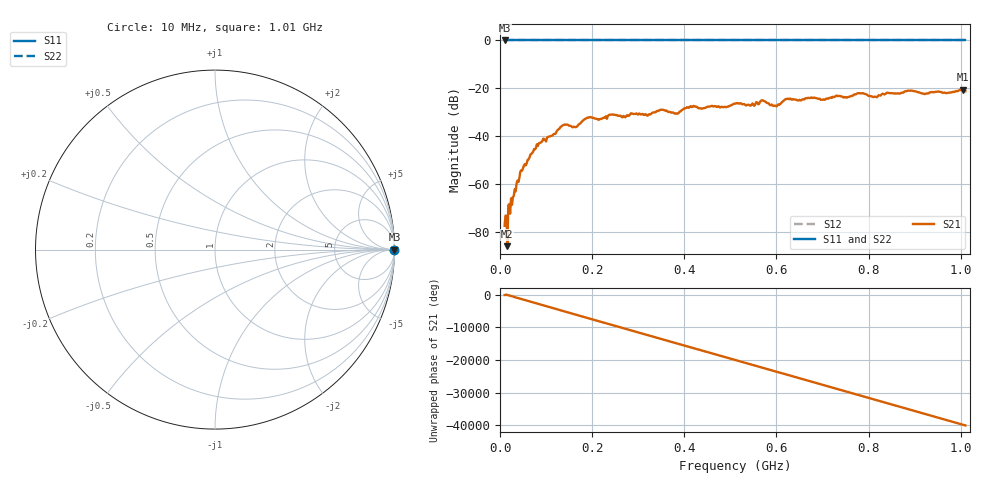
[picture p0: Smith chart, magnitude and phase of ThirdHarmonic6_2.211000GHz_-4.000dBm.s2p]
! 8/17/2025 2:20:23 AM
! C:\ANRITSUVNA\TEMP\TEMP.S2P
! CHANNEL.1
! TR.MEASUREMENT
! RAW.DATA
! RF.CORRECTION.OFF
! AVERAGING.OFF
! IF.BANDWIDTH: 5KHZ
! SWEEPTYPE:  FREQ.SWEEP(Linear)
! Reference Plane Port Info
! PORT:  PORT1  PORT2
! DISTANCE:  0  m  0  m
! TIME:  0  s  0  s
! PHASE.OFFSET:  0  deg.  0  deg.
! LOSS:  0  dB  0  dB
! REF.LOSS:  0  dB  0  dB
! REF.FREQ:  0  Hz  0  Hz
! Power Info
! POWER:  -20  dBm  -20  dBm
! EFF.POWER:  -20  dBm  -20  dBm
! SOURCE.ATTEN:  0  dB  0  dB
! TEST.ATTEN:  0  dB  0  dB
# GHZ S RI R 50.0
! FREQ.GHZ  S11RE  S11IM  S21RE  S21IM  S12RE  S12IM  S22RE  S22IM
!; PortSelection: Port_12
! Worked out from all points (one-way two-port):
!   501 points, 10 MHz to 1.01 GHz, reference 50 ohm
!   highest |S21| = -20.58 dB at 1.004 GHz (marker M1); lowest = -85.9 dB at 16 MHz (marker M2)
!   lowest |S11| = 0.0 dB at 10 MHz (marker M3)
!   |S11| at or under -10 dB: nowhere
!   |S22| runs from 0.0 to 0.0 dB; largest |S21 - S12| = 1.1
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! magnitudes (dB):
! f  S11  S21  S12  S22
! 10 MHz  0.0  -77.4  0.0  0.0
! 12 MHz  0.0  -73.1  0.0  0.0
! 16 MHz  0.0  -85.9  0.0  0.0
! 48 MHz  0.0  -54.4  0.0  0.0
! 82 MHz  0.0  -44.1  0.0  0.0
! 136 MHz  0.0  -35.4  0.0  0.0
! 162 MHz  0.0  -36.1  0.0  0.0
! 178 MHz  0.0  -33.8  0.0  0.0
! 194 MHz  0.0  -32.0  0.0  0.0
! 322 MHz  0.0  -31.0  0.0  0.0
! 344 MHz  0.0  -29.4  0.0  0.0
! 384 MHz  0.0  -30.5  0.0  0.0
! 416 MHz  0.0  -27.8  0.0  0.0
! 510 MHz  0.0  -26.3  0.0  0.0
! 570 MHz  0.0  -25.0  0.0  0.0
! 596 MHz  0.0  -27.2  0.0  0.0
! 622 MHz  0.0  -24.5  0.0  0.0
! 678 MHz  0.0  -24.0  0.0  0.0
! 814 MHz  0.0  -23.5  0.0  0.0
! 844 MHz  0.0  -21.9  0.0  0.0
! 1.004 GHz  0.0  -20.6  0.0  0.0
! 1.01 GHz  0.0  -21.2  0.0  0.0
